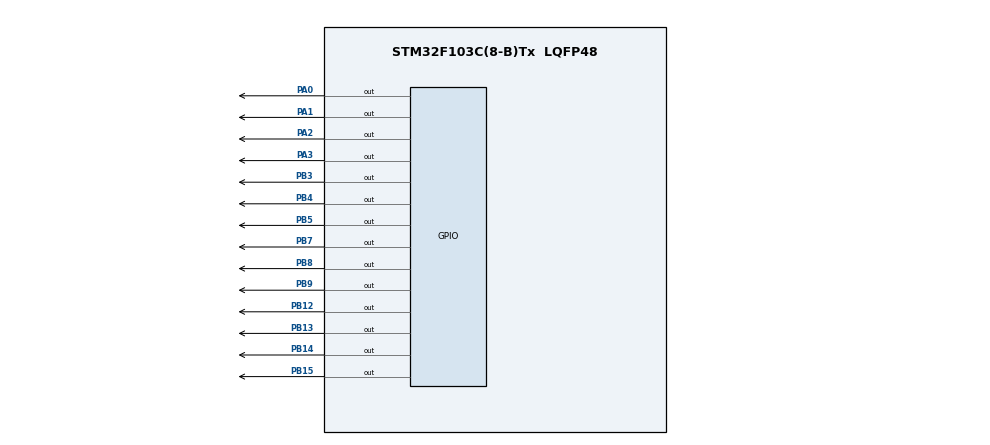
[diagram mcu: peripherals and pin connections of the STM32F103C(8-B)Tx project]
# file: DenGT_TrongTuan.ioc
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Mcu.Family=STM32F1
Mcu.Name=STM32F103C(8-B)Tx
Mcu.Package=LQFP48
NVIC.PriorityGroup=NVIC_PRIORITYGROUP_4
PA0-WKUP.Signal=GPIO_Output
PA1.Signal=GPIO_Output
PA2.Signal=GPIO_Output
PA3.Signal=GPIO_Output
PB12.Signal=GPIO_Output
PB13.Signal=GPIO_Output
PB14.Signal=GPIO_Output
PB15.Signal=GPIO_Output
PB3.Signal=GPIO_Output
PB4.Signal=GPIO_Output
PB5.Signal=GPIO_Output
PB7.Signal=GPIO_Output
PB8.Signal=GPIO_Output
PB9.Signal=GPIO_Output
ProjectManager.HeapSize=0x200
ProjectManager.StackSize=0x400
ProjectManager.TargetToolchain=MDK-ARM V5.32
RCC.APB1Freq_Value=8000000
RCC.APB2Freq_Value=8000000
VP_SYS_VS_ND.Mode=No_Debug
board=custom

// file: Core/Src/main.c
/* USER CODE BEGIN Header */
/**
  ******************************************************************************
  * @file           : main.c
  * @brief          : Main program body
  ******************************************************************************
  * @attention
  *
  * Copyright (c) 2023 STMicroelectronics.
  * All rights reserved.
  *
  * This software is licensed under terms that can be found in the LICENSE file
  * in the root directory of this software component.
  * If no LICENSE file comes with this software, it is provided AS-IS.
  *
  ******************************************************************************
  */
/* USER CODE END Header */
#include "main.h"

/* USER CODE BEGIN PTD */
#define LED7SEG_A   GPIO_PIN_0
#define LED7SEG_B   GPIO_PIN_1
#define LED7SEG_C   GPIO_PIN_2
#define LED7SEG_D   GPIO_PIN_3

#define LED1        GPIO_PIN_12
#define LED2        GPIO_PIN_13
#define LED3       	GPIO_PIN_14
#define LED4        GPIO_PIN_15

#define LED_DO        GPIO_PIN_5
#define LED_VANG      GPIO_PIN_4
#define LED_XANH      GPIO_PIN_3

#define LED_DO1       GPIO_PIN_9
#define LED_VANG1     GPIO_PIN_8
#define LED_XANH1     GPIO_PIN_7

#define PORT_LED7SEG_CODE GPIOA
#define PORT_LED          GPIOB

#define delayTime1          5

int green_light_time = 25;
int yellow_light_time = 3;
int red_light_time;
int time_counter = 0;
int time_run;
/* USER CODE END PTD */

void SystemClock_Config(void);
static void MX_GPIO_Init(void);
/* USER CODE BEGIN PFP */

void led7seg( int y){
	switch(y){
		case 0 : 	HAL_GPIO_WritePin(PORT_LED7SEG_CODE, LED7SEG_A, GPIO_PIN_RESET);
							HAL_GPIO_WritePin(PORT_LED7SEG_CODE, LED7SEG_B, GPIO_PIN_RESET);
							HAL_GPIO_WritePin(PORT_LED7SEG_CODE, LED7SEG_C, GPIO_PIN_RESET);
							HAL_GPIO_WritePin(PORT_LED7SEG_CODE, LED7SEG_D, GPIO_PIN_RESET);
							break;
		case 1 : 	HAL_GPIO_WritePin(PORT_LED7SEG_CODE, LED7SEG_A, GPIO_PIN_SET);
							HAL_GPIO_WritePin(PORT_LED7SEG_CODE, LED7SEG_B, GPIO_PIN_RESET);
							HAL_GPIO_WritePin(PORT_LED7SEG_CODE, LED7SEG_C, GPIO_PIN_RESET);
							HAL_GPIO_WritePin(PORT_LED7SEG_CODE, LED7SEG_D, GPIO_PIN_RESET);
							break;
		case 2 : 	HAL_GPIO_WritePin(PORT_LED7SEG_CODE, LED7SEG_A, GPIO_PIN_RESET);
							HAL_GPIO_WritePin(PORT_LED7SEG_CODE, LED7SEG_B, GPIO_PIN_SET);
							HAL_GPIO_WritePin(PORT_LED7SEG_CODE, LED7SEG_C, GPIO_PIN_RESET);
							HAL_GPIO_WritePin(PORT_LED7SEG_CODE, LED7SEG_D, GPIO_PIN_RESET);
							break;
		case 3 : 	HAL_GPIO_WritePin(PORT_LED7SEG_CODE, LED7SEG_A, GPIO_PIN_SET);
							HAL_GPIO_WritePin(PORT_LED7SEG_CODE, LED7SEG_B, GPIO_PIN_SET);
							HAL_GPIO_WritePin(PORT_LED7SEG_CODE, LED7SEG_C, GPIO_PIN_RESET);
							HAL_GPIO_WritePin(PORT_LED7SEG_CODE, LED7SEG_D, GPIO_PIN_RESET);
							break;
		case 4 : 	HAL_GPIO_WritePin(PORT_LED7SEG_CODE, LED7SEG_A, GPIO_PIN_RESET);
							HAL_GPIO_WritePin(PORT_LED7SEG_CODE, LED7SEG_B, GPIO_PIN_RESET);
							HAL_GPIO_WritePin(PORT_LED7SEG_CODE, LED7SEG_C, GPIO_PIN_SET);
							HAL_GPIO_WritePin(PORT_LED7SEG_CODE, LED7SEG_D, GPIO_PIN_RESET);
							break;
		case 5 : 	HAL_GPIO_WritePin(PORT_LED7SEG_CODE, LED7SEG_A, GPIO_PIN_SET);
							HAL_GPIO_WritePin(PORT_LED7SEG_CODE, LED7SEG_B, GPIO_PIN_RESET);
							HAL_GPIO_WritePin(PORT_LED7SEG_CODE, LED7SEG_C, GPIO_PIN_SET);
							HAL_GPIO_WritePin(PORT_LED7SEG_CODE, LED7SEG_D, GPIO_PIN_RESET);
							break;
		case 6 : 	HAL_GPIO_WritePin(PORT_LED7SEG_CODE, LED7SEG_A, GPIO_PIN_RESET);
							HAL_GPIO_WritePin(PORT_LED7SEG_CODE, LED7SEG_B, GPIO_PIN_SET);
							HAL_GPIO_WritePin(PORT_LED7SEG_CODE, LED7SEG_C, GPIO_PIN_SET);
							HAL_GPIO_WritePin(PORT_LED7SEG_CODE, LED7SEG_D, GPIO_PIN_RESET);
							break;
		case 7 : 	HAL_GPIO_WritePin(PORT_LED7SEG_CODE, LED7SEG_A, GPIO_PIN_SET);
							HAL_GPIO_WritePin(PORT_LED7SEG_CODE, LED7SEG_B, GPIO_PIN_SET);
							HAL_GPIO_WritePin(PORT_LED7SEG_CODE, LED7SEG_C, GPIO_PIN_SET);
							HAL_GPIO_WritePin(PORT_LED7SEG_CODE, LED7SEG_D, GPIO_PIN_RESET);
							break;
		case 8 : 	HAL_GPIO_WritePin(PORT_LED7SEG_CODE, LED7SEG_A, GPIO_PIN_RESET);
							HAL_GPIO_WritePin(PORT_LED7SEG_CODE, LED7SEG_B, GPIO_PIN_RESET);
							HAL_GPIO_WritePin(PORT_LED7SEG_CODE, LED7SEG_C, GPIO_PIN_RESET);
							HAL_GPIO_WritePin(PORT_LED7SEG_CODE, LED7SEG_D, GPIO_PIN_SET);
							break;
		case 9 : 	HAL_GPIO_WritePin(PORT_LED7SEG_CODE, LED7SEG_A, GPIO_PIN_SET);
							HAL_GPIO_WritePin(PORT_LED7SEG_CODE, LED7SEG_B, GPIO_PIN_RESET);
							HAL_GPIO_WritePin(PORT_LED7SEG_CODE, LED7SEG_C, GPIO_PIN_RESET);
							HAL_GPIO_WritePin(PORT_LED7SEG_CODE, LED7SEG_D, GPIO_PIN_SET);
							break;
	}
}
void show7Seg2(int c, int x){
	int x1, x2;
		x1 = x/10;
		x2 = x%10;
	if(c == 1){
		HAL_GPIO_WritePin(PORT_LED, LED1, GPIO_PIN_SET);
		led7seg(x1);
		HAL_Delay(delayTime1);
		HAL_GPIO_WritePin(PORT_LED, LED1, GPIO_PIN_RESET);
		HAL_GPIO_WritePin(PORT_LED, LED2, GPIO_PIN_SET);
		led7seg(x2);
		HAL_Delay(delayTime1);
		HAL_GPIO_WritePin(PORT_LED, LED2, GPIO_PIN_RESET);
	}	else {
		HAL_GPIO_WritePin(PORT_LED, LED3, GPIO_PIN_SET);
		led7seg(x1);
		HAL_Delay(delayTime1);
		HAL_GPIO_WritePin(PORT_LED, LED3, GPIO_PIN_RESET);
		HAL_GPIO_WritePin(PORT_LED, LED4, GPIO_PIN_SET);
		led7seg(x2);
		HAL_Delay(delayTime1);
		HAL_GPIO_WritePin(PORT_LED, LED4, GPIO_PIN_RESET);

	}
}
/* USER CODE END PFP */

int main(void)
{

  /* MCU Configuration--------------------------------------------------------*/

  /* Reset of all peripherals, Initializes the Flash interface and the Systick. */
  HAL_Init();

  /* Configure the system clock */
  SystemClock_Config();

  /* Initialize all configured peripherals */
  MX_GPIO_Init();
  /* USER CODE BEGIN 2 */
	HAL_GPIO_WritePin(GPIOB, GPIO_PIN_3, GPIO_PIN_SET);
	HAL_GPIO_WritePin(GPIOB, GPIO_PIN_4, GPIO_PIN_SET);
	HAL_GPIO_WritePin(GPIOB, GPIO_PIN_5, GPIO_PIN_SET);
	HAL_GPIO_WritePin(GPIOB, GPIO_PIN_7, GPIO_PIN_SET);
	HAL_GPIO_WritePin(GPIOB, GPIO_PIN_8, GPIO_PIN_SET);
	HAL_GPIO_WritePin(GPIOB, GPIO_PIN_9, GPIO_PIN_SET);

	HAL_GPIO_WritePin(GPIOB, GPIO_PIN_12, GPIO_PIN_RESET);
	HAL_GPIO_WritePin(GPIOB, GPIO_PIN_13, GPIO_PIN_RESET);
	HAL_GPIO_WritePin(GPIOB, GPIO_PIN_14, GPIO_PIN_RESET);
	HAL_GPIO_WritePin(GPIOB, GPIO_PIN_15, GPIO_PIN_RESET);

	HAL_GPIO_WritePin(GPIOA, GPIO_PIN_0, GPIO_PIN_RESET);
	HAL_GPIO_WritePin(GPIOA, GPIO_PIN_1, GPIO_PIN_RESET);
	HAL_GPIO_WritePin(GPIOA, GPIO_PIN_2, GPIO_PIN_RESET);
	HAL_GPIO_WritePin(GPIOA, GPIO_PIN_3, GPIO_PIN_SET);

	time_run = 2*(green_light_time+yellow_light_time);
	red_light_time = green_light_time + yellow_light_time;
  /* USER CODE END 2 */

  /* Infinite loop */
  /* USER CODE BEGIN WHILE */
  while (1)
  {
//		time_counter += 1;
//		if(time_counter > 9)
//			time_counter = 0;
//		for(int i=0; i<25; i++){
//			show7Seg2(1, time_counter);
//			show7Seg2(0, time_counter+10);
//		}

		time_counter++;
		if(time_counter > time_run)
			time_counter = 0;
		if(time_counter < green_light_time){
			// cot 1
			HAL_GPIO_WritePin(GPIOB, LED_XANH, GPIO_PIN_RESET);
			HAL_GPIO_WritePin(GPIOB, LED_VANG, GPIO_PIN_SET);
			HAL_GPIO_WritePin(GPIOB, LED_DO, GPIO_PIN_SET);

			// cot 2
			HAL_GPIO_WritePin(GPIOB, LED_XANH1, GPIO_PIN_SET);
			HAL_GPIO_WritePin(GPIOB, LED_VANG1, GPIO_PIN_SET);
			HAL_GPIO_WritePin(GPIOB, LED_DO1, GPIO_PIN_RESET);

			for(int i=0; i<50; i++){
				show7Seg2(1, green_light_time - time_counter);
				show7Seg2(0, red_light_time - time_counter);
			}
		}	else	if(time_counter < red_light_time){
							// cot 1
							HAL_GPIO_WritePin(GPIOB, LED_XANH, GPIO_PIN_SET);
							HAL_GPIO_WritePin(GPIOB, LED_VANG, GPIO_PIN_RESET);
							HAL_GPIO_WritePin(GPIOB, LED_DO, GPIO_PIN_SET);

							// cot 2
							HAL_GPIO_WritePin(GPIOB, LED_XANH1, GPIO_PIN_SET);
							HAL_GPIO_WritePin(GPIOB, LED_VANG1, GPIO_PIN_SET);
							HAL_GPIO_WritePin(GPIOB, LED_DO1, GPIO_PIN_RESET);

							for(int i=0; i<50; i++){
								show7Seg2(1, red_light_time - time_counter);
								show7Seg2(0, red_light_time - time_counter);
							}
						}	else	if(time_counter < time_run-yellow_light_time){
											// cot 1
											HAL_GPIO_WritePin(GPIOB, LED_XANH, GPIO_PIN_SET);
											HAL_GPIO_WritePin(GPIOB, LED_VANG, GPIO_PIN_SET);
											HAL_GPIO_WritePin(GPIOB, LED_DO, GPIO_PIN_RESET);

											// cot 2
											HAL_GPIO_WritePin(GPIOB, LED_XANH1, GPIO_PIN_RESET);
											HAL_GPIO_WritePin(GPIOB, LED_VANG1, GPIO_PIN_SET);
											HAL_GPIO_WritePin(GPIOB, LED_DO1, GPIO_PIN_SET);

											for(int i=0; i<50; i++){
												show7Seg2(1, time_run - time_counter);
												show7Seg2(0, time_run - time_counter - yellow_light_time);
											}
										}	else {
												// cot 1
												HAL_GPIO_WritePin(GPIOB, LED_XANH, GPIO_PIN_SET);
												HAL_GPIO_WritePin(GPIOB, LED_VANG, GPIO_PIN_SET);
												HAL_GPIO_WritePin(GPIOB, LED_DO, GPIO_PIN_RESET);

												// cot 2
												HAL_GPIO_WritePin(GPIOB, LED_XANH1, GPIO_PIN_SET);
												HAL_GPIO_WritePin(GPIOB, LED_VANG1, GPIO_PIN_RESET);
												HAL_GPIO_WritePin(GPIOB, LED_DO1, GPIO_PIN_SET);

												for(int i=0; i<50; i++){
													show7Seg2(1, time_run - time_counter);
													show7Seg2(0, time_run - time_counter);
												}
											}

		/* USER CODE END WHILE */

  }
}

void SystemClock_Config(void)
{
  RCC_OscInitTypeDef RCC_OscInitStruct = {0};
  RCC_ClkInitTypeDef RCC_ClkInitStruct = {0};

  /** Initializes the RCC Oscillators according to the specified parameters
  * in the RCC_OscInitTypeDef structure.
  */
  RCC_OscInitStruct.OscillatorType = RCC_OSCILLATORTYPE_HSI;
  RCC_OscInitStruct.HSIState = RCC_HSI_ON;
  RCC_OscInitStruct.HSICalibrationValue = RCC_HSICALIBRATION_DEFAULT;
  RCC_OscInitStruct.PLL.PLLState = RCC_PLL_NONE;
  if (HAL_RCC_OscConfig(&RCC_OscInitStruct) != HAL_OK)
  {
    Error_Handler();
  }

  /** Initializes the CPU, AHB and APB buses clocks
  */
  RCC_ClkInitStruct.ClockType = RCC_CLOCKTYPE_HCLK|RCC_CLOCKTYPE_SYSCLK
                              |RCC_CLOCKTYPE_PCLK1|RCC_CLOCKTYPE_PCLK2;
  RCC_ClkInitStruct.SYSCLKSource = RCC_SYSCLKSOURCE_HSI;
  RCC_ClkInitStruct.AHBCLKDivider = RCC_SYSCLK_DIV1;
  RCC_ClkInitStruct.APB1CLKDivider = RCC_HCLK_DIV1;
  RCC_ClkInitStruct.APB2CLKDivider = RCC_HCLK_DIV1;

  if (HAL_RCC_ClockConfig(&RCC_ClkInitStruct, FLASH_LATENCY_0) != HAL_OK)
  {
    Error_Handler();
  }
}

static void MX_GPIO_Init(void)
{
  GPIO_InitTypeDef GPIO_InitStruct = {0};

  /* GPIO Ports Clock Enable */
  __HAL_RCC_GPIOA_CLK_ENABLE();
  __HAL_RCC_GPIOB_CLK_ENABLE();

  /*Configure GPIO pin Output Level */
  HAL_GPIO_WritePin(GPIOA, GPIO_PIN_0|GPIO_PIN_1|GPIO_PIN_2|GPIO_PIN_3, GPIO_PIN_RESET);

  /*Configure GPIO pin Output Level */
  HAL_GPIO_WritePin(GPIOB, GPIO_PIN_12|GPIO_PIN_13|GPIO_PIN_14|GPIO_PIN_15
                          |GPIO_PIN_3|GPIO_PIN_4|GPIO_PIN_5|GPIO_PIN_7
                          |GPIO_PIN_8|GPIO_PIN_9, GPIO_PIN_RESET);

  /*Configure GPIO pins : PA0 PA1 PA2 PA3 */
  GPIO_InitStruct.Pin = GPIO_PIN_0|GPIO_PIN_1|GPIO_PIN_2|GPIO_PIN_3;
  GPIO_InitStruct.Mode = GPIO_MODE_OUTPUT_PP;
  GPIO_InitStruct.Pull = GPIO_NOPULL;
  GPIO_InitStruct.Speed = GPIO_SPEED_FREQ_LOW;
  HAL_GPIO_Init(GPIOA, &GPIO_InitStruct);

  /*Configure GPIO pins : PB12 PB13 PB14 PB15
                           PB3 PB4 PB5 PB7
                           PB8 PB9 */
  GPIO_InitStruct.Pin = GPIO_PIN_12|GPIO_PIN_13|GPIO_PIN_14|GPIO_PIN_15
                          |GPIO_PIN_3|GPIO_PIN_4|GPIO_PIN_5|GPIO_PIN_7
                          |GPIO_PIN_8|GPIO_PIN_9;
  GPIO_InitStruct.Mode = GPIO_MODE_OUTPUT_PP;
  GPIO_InitStruct.Pull = GPIO_NOPULL;
  GPIO_InitStruct.Speed = GPIO_SPEED_FREQ_LOW;
  HAL_GPIO_Init(GPIOB, &GPIO_InitStruct);

}

void Error_Handler(void)
{
  __disable_irq();
  while (1)
  {
  }
}
